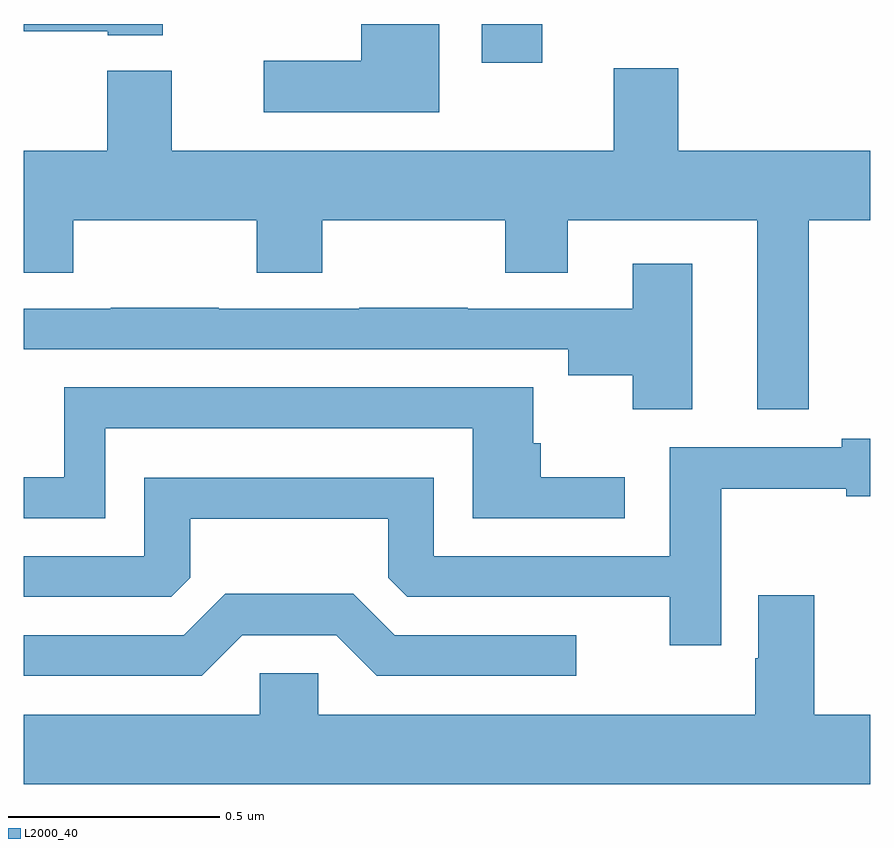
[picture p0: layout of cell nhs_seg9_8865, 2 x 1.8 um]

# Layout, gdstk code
import gdstk
lib = gdstk.Library(unit=1e-6, precision=1e-09)
def R(c, l, rs):  # rectangles x0, y0, x1, y1
    for r in rs: c.add(gdstk.rectangle(r[:2], r[2:], *l))
def P(c, l, *ps):  # polygons
    for p in ps: c.add(gdstk.Polygon(p, *l))
L2000_40 = (2000, 40)

nhs_seg9_8865 = lib.new_cell('nhs_seg9_8865')
R(nhs_seg9_8865, L2000_40, [(223.082,1247.409,223.225,1247.5)])
P(nhs_seg9_8865, L2000_40, [(222.982,1247.5),(222.797,1247.5),(222.797,1247.413),(222.567,1247.413),(222.567,1247.291),(222.982,1247.291)],
  [(222.328,1247.5),(222,1247.5),(222,1247.483),(222.198,1247.483),(222.198,1247.474),(222.328,1247.474)],
  [(223.855,1247.036),(224,1247.036),(224,1247.2),(223.547,1247.2),(223.547,1247.395),(223.394,1247.395),(223.394,1247.2),(222.349,1247.2),(222.349,1247.389),(222.197,1247.389),(222.197,1247.2),(222,1247.2),(222,1246.912),(222.117,1246.912),(222.117,1247.036),(222.55,1247.036),(222.55,1246.912),(222.705,1246.912),(222.705,1247.036),(223.138,1247.036),(223.138,1246.912),(223.285,1246.912),(223.285,1247.036),(223.733,1247.036),(223.733,1246.59),(223.855,1246.59)],
  [(223.579,1246.933),(223.439,1246.933),(223.439,1246.827),(223.049,1246.827),(223.049,1246.829),(222.793,1246.829),(222.793,1246.827),(222.461,1246.827),(222.461,1246.829),(222.205,1246.829),(222.205,1246.827),(222,1246.827),(222,1246.731),(223.286,1246.731),(223.286,1246.67),(223.439,1246.67),(223.439,1246.59),(223.579,1246.59)],
  [(222.192,1246.545),(223.061,1246.545),(223.061,1246.332),(223.42,1246.332),(223.42,1246.429),(223.222,1246.429),(223.222,1246.509),(223.204,1246.509),(223.204,1246.641),(222.095,1246.641),(222.095,1246.429),(222,1246.429),(222,1246.332),(222.192,1246.332)],
  [(223.648,1246.402),(223.944,1246.402),(223.944,1246.384),(224,1246.384),(224,1246.52),(223.933,1246.52),(223.933,1246.5),(223.526,1246.5),(223.526,1246.242),(222.969,1246.242),(222.969,1246.428),(222.285,1246.428),(222.285,1246.242),(222,1246.242),(222,1246.146),(222.348,1246.146),(222.393,1246.191),(222.393,1246.331),(222.861,1246.331),(222.861,1246.191),(222.906,1246.146),(223.526,1246.146),(223.526,1246.032),(223.648,1246.032)],
  [(222.516,1246.056),(222.738,1246.056),(222.834,1245.96),(223.306,1245.96),(223.306,1246.056),(222.876,1246.056),(222.779,1246.154),(222.476,1246.154),(222.378,1246.056),(222,1246.056),(222,1245.96),(222.42,1245.96)],
  [(224,1245.868),(223.868,1245.868),(223.868,1246.15),(223.736,1246.15),(223.736,1246.001),(223.729,1246.001),(223.729,1245.868),(222.696,1245.868),(222.696,1245.966),(222.558,1245.966),(222.558,1245.868),(222,1245.868),(222,1245.704),(224,1245.704)])

lib.write_gds('nhs_seg9_8865.gds')
